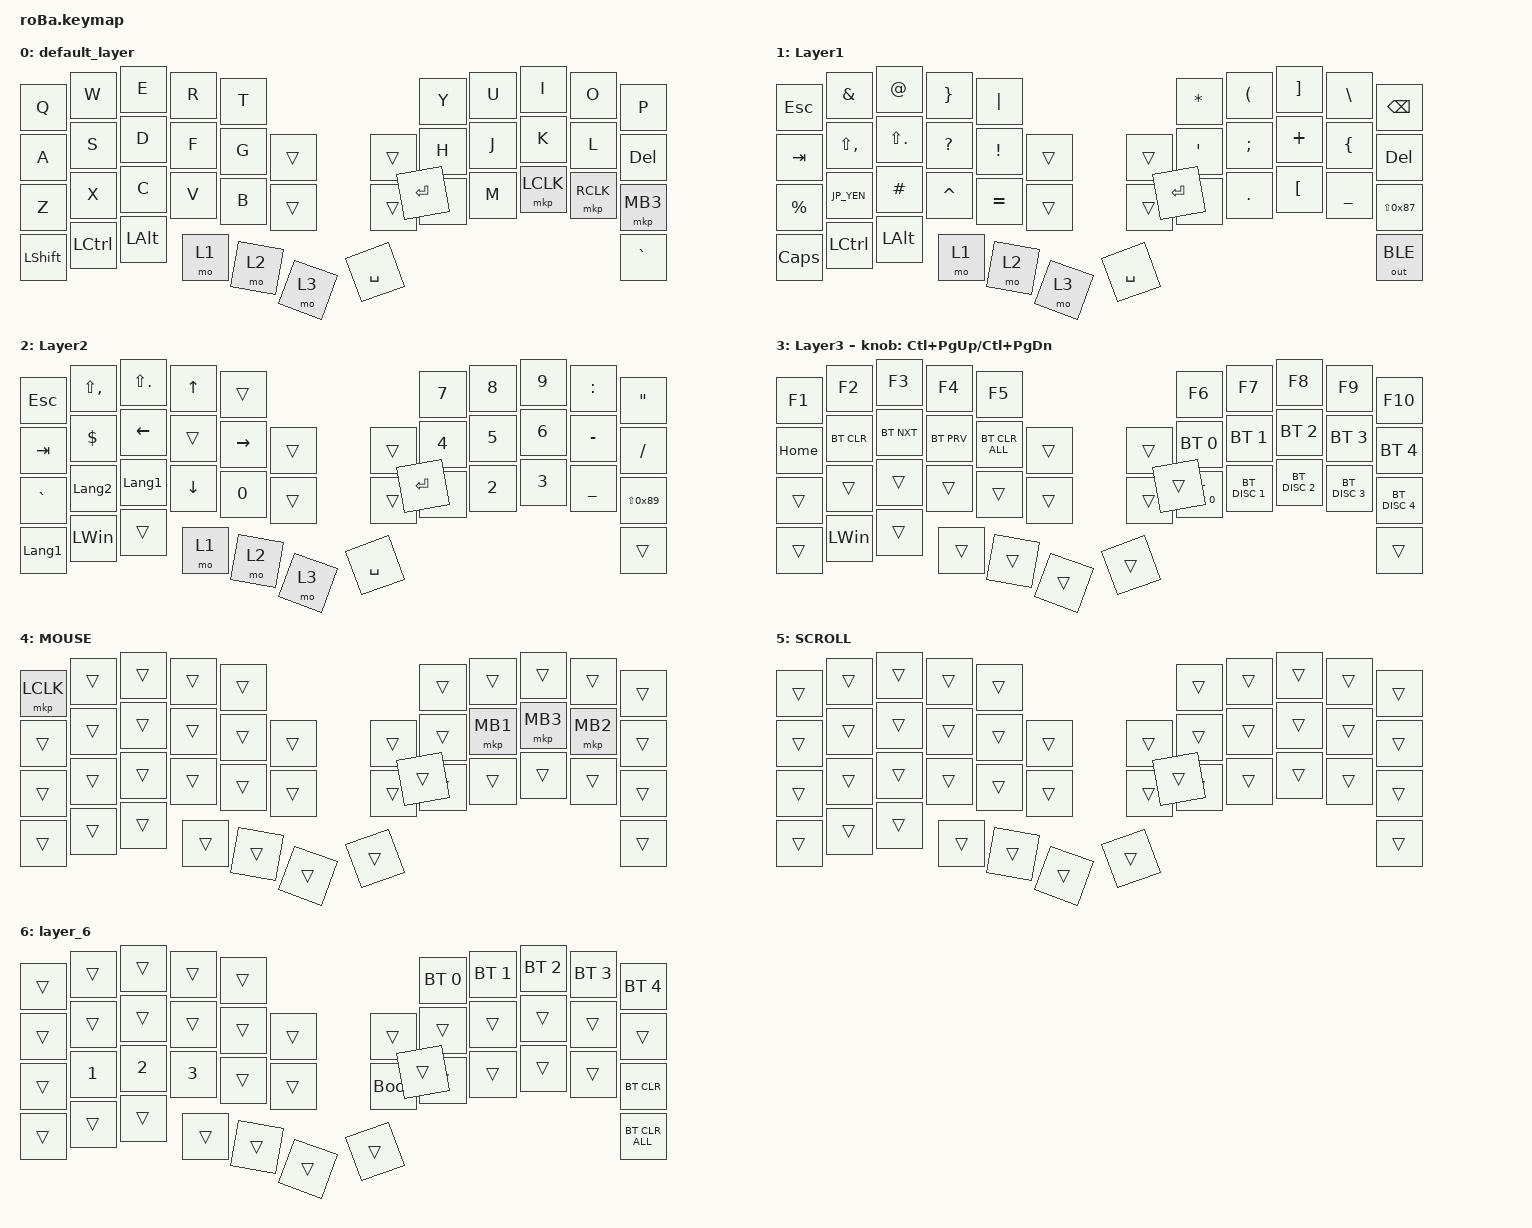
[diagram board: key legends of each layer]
#include <behaviors.dtsi>
#include <dt-bindings/zmk/bt.h>
#include <dt-bindings/zmk/keys.h>
#include <dt-bindings/zmk/outputs.h>
#include <dt-bindings/zmk/pointing.h>

// 日本語キーボード対応の定義（半角/全角切り替え用）

#define JP_HANZEN       GRAVE             // 半角/全角
#define JP_KANA         LANGUAGE_1        // かな
#define JP_EISU         LANGUAGE_2        // 英数

// 日本語キーボード設定でのシンボルマーク変換定義

#define JP_DQUOTE       AT                // "
#define JP_AMPERSAND    CARET             // &
#define JP_QUOTE        AMPERSAND         // '
#define JP_EQUAL        UNDER             // =
#define JP_CARET        EQUAL             // ^ 1
#define JP_YEN          0x89              // ¥
#define JP_PLUS         COLON             // +
#define JP_TILDE        PLUS              // ~ 1
#define JP_PIPE         LS(0x89)          // |
#define JP_AT           LEFT_BRACKET      // @
#define JP_COLON        SINGLE_QUOTE      // :
#define JP_ASTERISK     DOUBLE_QUOTES     // *
#define JP_BACKQUOTE    LEFT_BRACE        // `
#define JP_UNDERSCORE   LS(0x87)          // _
#define JP_LBRACKET     RIGHT_BRACKET     // [
#define JP_RBRACKET     BACKSLASH         // ]
#define JP_LPAREN       ASTERISK          // (
#define JP_RPAREN       LEFT_PARENTHESIS  // )
#define JP_LBRACE       RIGHT_BRACE       // {
#define JP_RBRACE       PIPE              // }

// Layout-independent angle brackets
#define JP_LT           LS(COMMA)         // <
#define JP_GT           LS(PERIOD)        // >
#define MOUSE 4
#define SCROLL 5
#define NUM 6

&mt {
    flavor = "balanced";
    quick-tap-ms = <0>;
};

/ {
    combos {
        compatible = "zmk,combos";

        TO_Layer4 {
            bindings = <&to 4>;
            key-positions = <37 38>;
        };

        TO_Layer5 {
            bindings = <&to 5>;
            key-positions = <39 38>;
        };
    };

    macros {
        to_layer_0: to_layer_0 {
            compatible = "zmk,behavior-macro-one-param";
            #binding-cells = <1>;
            bindings = <&to 0 &macro_param_1to1 &kp MACRO_PLACEHOLDER>;
            label = "TO_LAYER_0";
        };
    };

    behaviors {
        lt_to_layer_0: lt_to_layer_0 {
            compatible = "zmk,behavior-hold-tap";
            label = "LAYER_TAP_TO_0";
            bindings = <&mo>, <&to_layer_0>;

            #binding-cells = <2>;
            tapping-term-ms = <200>;
        };
    };

    keymap {
        compatible = "zmk,keymap";

        default_layer {
            bindings = <
&kp Q       &kp W      &kp E         &kp R  &kp T                         &kp Y      &kp U  &kp I      &kp O      &kp P
&kp A       &kp S      &kp D         &kp F  &kp G  &trans      &trans     &kp H      &kp J  &kp K      &kp L      &kp DELETE
&kp Z       &kp X      &kp C         &kp V  &kp B  &trans      &trans     &kp N      &kp M  &mkp LCLK  &mkp RCLK  &mkp MB3
&kp LSHIFT  &kp LCTRL  &kp LEFT_ALT  &mo 1  &mo 2  &mo 3       &kp SPACE  &kp ENTER                               &kp JP_HANZEN
            >;
        };

        Layer1 {
            bindings = <
&kp ESC       &kp JP_QUOTE  &kp JP_DQUOTE         &kp JP_LBRACE &kp JP_RBRACE                            &kp JP_LPAREN  &kp JP_RPAREN  &kp JP_LBRACKET  &kp JP_RBRACKET  &kp BACKSPACE
&kp TAB       &kp JP_LT             &kp JP_GT         &kp QUESTION  &kp EXCLAMATION   &trans      &trans     &kp JP_COLON   &kp SEMICOLON  &kp JP_TILDE     &kp JP_BACKQUOTE &kp DELETE
&kp PERCENT   &kp JP_YEN    &kp HASH              &kp JP_AMPERSAND  &kp JP_CARET      &trans      &trans     &kp COMMA      &kp PERIOD     &kp JP_AT        &kp JP_EQUAL     &kp JP_UNDERSCORE
&kp CAPSLOCK  &kp LCTRL     &kp LEFT_ALT          &mo 1         &mo 2             &mo 3       &kp SPACE  &kp ENTER                                                       &out OUT_BLE
            >;
        };

        Layer2 {
            bindings = <
&kp ESC        &kp JP_LT             &kp JP_GT         &kp UP_ARROW    &trans                                  &kp NUMBER_7  &kp NUMBER_8  &kp NUMBER_9  &kp JP_PLUS   &kp JP_ASTERISK
&kp TAB        &kp DOLLAR            &kp LEFT     &trans          &kp RIGHT_ARROW  &trans      &trans     &kp NUMBER_4  &kp NUMBER_5  &kp NUMBER_6  &kp MINUS     &kp SLASH
&kp JP_HANZEN  &kp JP_EISU           &kp JP_KANA  &kp DOWN_ARROW  &kp NUMBER_0     &trans      &trans     &kp NUMBER_1  &kp NUMBER_2  &kp NUMBER_3  &kp JP_EQUAL  &kp JP_PIPE
&kp JP_KANA    &kp LEFT_WIN          &trans       &mo 1           &mo 2            &mo 3       &kp SPACE  &kp RET                                                 &trans
            >;
        };

        Layer3 {
            bindings = <
&kp F1    &kp F2        &kp F3      &kp F4      &kp F5                              &kp F6         &kp F7         &kp F8         &kp F9         &kp F10
&kp HOME  &bt BT_CLR    &bt BT_NXT  &bt BT_PRV  &bt BT_CLR_ALL  &trans      &trans  &bt BT_SEL 0   &bt BT_SEL 1   &bt BT_SEL 2   &bt BT_SEL 3   &bt BT_SEL 4
&trans    &trans        &trans      &trans      &trans          &trans      &trans  &bt BT_DISC 0  &bt BT_DISC 1  &bt BT_DISC 2  &bt BT_DISC 3  &bt BT_DISC 4
&trans    &kp LEFT_WIN  &trans      &trans      &trans          &trans      &trans  &trans                                                      &trans
            >;

            sensor-bindings = <&inc_dec_kp LC(PAGE_UP) LC(PAGE_DOWN)>;
        };

        MOUSE {
            bindings = <
&mkp LCLK  &trans  &trans  &trans  &trans                      &trans  &trans    &trans    &trans    &trans
&trans     &trans  &trans  &trans  &trans  &trans      &trans  &trans  &mkp MB1  &mkp MB3  &mkp MB2  &trans
&trans     &trans  &trans  &trans  &trans  &trans      &trans  &trans  &trans    &trans    &trans    &trans
&trans     &trans  &trans  &trans  &trans  &trans      &trans  &trans                                &trans
            >;
        };

        SCROLL {
            bindings = <
&trans  &trans  &trans  &trans  &trans                      &trans  &trans  &trans  &trans  &trans
&trans  &trans  &trans  &trans  &trans  &trans      &trans  &trans  &trans  &trans  &trans  &trans
&trans  &trans  &trans  &trans  &trans  &trans      &trans  &trans  &trans  &trans  &trans  &trans
&trans  &trans  &trans  &trans  &trans  &trans      &trans  &trans                          &trans
            >;
        };

        layer_6 {
            bindings = <
&trans  &trans        &trans        &trans        &trans                           &bt BT_SEL 0  &bt BT_SEL 1  &bt BT_SEL 2  &bt BT_SEL 3  &bt BT_SEL 4
&trans  &trans        &trans        &trans        &trans  &trans      &trans       &trans        &trans        &trans        &trans        &trans
&trans  &kp NUMBER_1  &kp NUMBER_2  &kp NUMBER_3  &trans  &trans      &bootloader  &trans        &trans        &trans        &trans        &bt BT_CLR
&trans  &trans        &trans        &trans        &trans  &trans      &trans       &trans                                                  &bt BT_CLR_ALL
            >;
        };
    };
};
